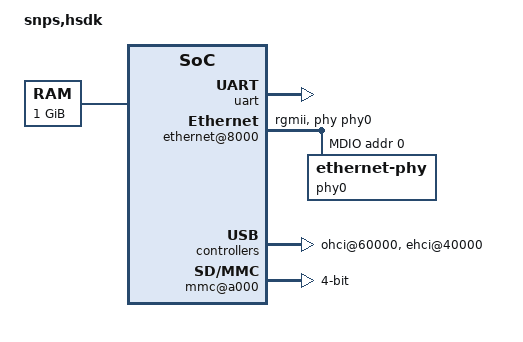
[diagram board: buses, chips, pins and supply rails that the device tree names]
/*
 * Copyright (C) 2017 Synopsys, Inc. (www.synopsys.com)
 *
 * This program is free software; you can redistribute it and/or modify
 * it under the terms of the GNU General Public License version 2 as
 * published by the Free Software Foundation.
 */

/*
 * Device Tree for ARC HS Development Kit
 */
/dts-v1/;

/include/ "skeleton_hs_idu.dtsi"

#include <dt-bindings/net/ti-dp83867.h>

/ {
	model = "snps,hsdk";
	compatible = "snps,hsdk";

	#address-cells = <1>;
	#size-cells = <1>;

	chosen {
		bootargs = "earlycon=uart8250,mmio32,0xf0005000,115200n8 console=ttyS0,115200n8 debug print-fatal-signals=1";
	};

	cpu {
		compatible = "simple-bus";
		#address-cells = <1>;
		#size-cells = <1>;
		interrupt-parent = <&core_intc>;

		core_clk: core_clk {
			#clock-cells = <0>;
			compatible = "fixed-clock";
			clock-frequency = <1000000000>;
		};

		core_intc: archs-intc@cpu {
			compatible = "snps,archs-intc";
			interrupt-controller;
			#interrupt-cells = <1>;
		};

		idu_intc: idu-interrupt-controller {
			compatible = "snps,archs-idu-intc";
			interrupt-controller;
			#interrupt-cells = <1>;
		};

		arcpct0: pct {
			compatible = "snps,archs-pct";
		};
	};

	soc {
		compatible = "simple-bus";
		#address-cells = <1>;
		#size-cells = <1>;
		interrupt-parent = <&idu_intc>;

		ranges = <0x00000000 0xf0000000 0x10000000>;

		uart: dw-apb-uart@5000 {
			compatible = "snps,dw-apb-uart";
			reg = <0x5000 0x100>;
			clock-frequency = <33330000>;
			interrupts = <6>;
			baud = <115200>;
			reg-shift = <2>;
			reg-io-width = <4>;
		};

		gmacclk: gmacclk {
			compatible = "fixed-clock";
			clock-frequency = <400000000>;
			#clock-cells = <0>;
		};

		mmcclk_ciu: mmcclk_ciu {
			compatible = "fixed-clock";
			clock-frequency = <100000000>;
			#clock-cells = <0>;
		};

		mmcclk_biu: mmcclk_biu {
			compatible = "fixed-clock";
			clock-frequency = <400000000>;
			#clock-cells = <0>;
		};

		ethernet@8000 {
			#interrupt-cells = <1>;
			compatible = "snps,dwmac";
			reg = <0x8000 0x2000>;
			interrupts = <10>;
			interrupt-names = "macirq";
			phy-mode = "rgmii";
			snps,pbl = <32>;
			clocks = <&gmacclk>;
			clock-names = "stmmaceth";
			phy-handle = <&phy0>;

			mdio0 {
				#address-cells = <1>;
				#size-cells = <0>;
				compatible = "snps,dwmac-mdio";
				phy0: ethernet-phy@0 {
					reg = <0>;
					ti,rx-internal-delay = <DP83867_RGMIIDCTL_2_00_NS>;
					ti,tx-internal-delay = <DP83867_RGMIIDCTL_2_00_NS>;
					ti,fifo-depth = <DP83867_PHYCR_FIFO_DEPTH_4_B_NIB>;
				};
			};
		};

		ohci@60000 {
			compatible = "generic-ohci";
			reg = <0x60000 0x100>;
			interrupts = <15>;
		};

		ehci@40000 {
			compatible = "generic-ehci";
			reg = <0x40000 0x100>;
			interrupts = <15>;
		};

		mmc@a000 {
			compatible = "altr,socfpga-dw-mshc";
			reg = <0xa000 0x400>;
			num-slots = <1>;
			fifo-depth = <16>;
			card-detect-delay = <200>;
			clocks = <&mmcclk_biu>, <&mmcclk_ciu>;
			clock-names = "biu", "ciu";
			interrupts = <12>;
			bus-width = <4>;
		};
	};

	memory {
		#address-cells = <1>;
		#size-cells = <1>;
		device_type = "memory";
		reg = <0x90000000 0x40000000>;	/* 1 GB */
	};
};
